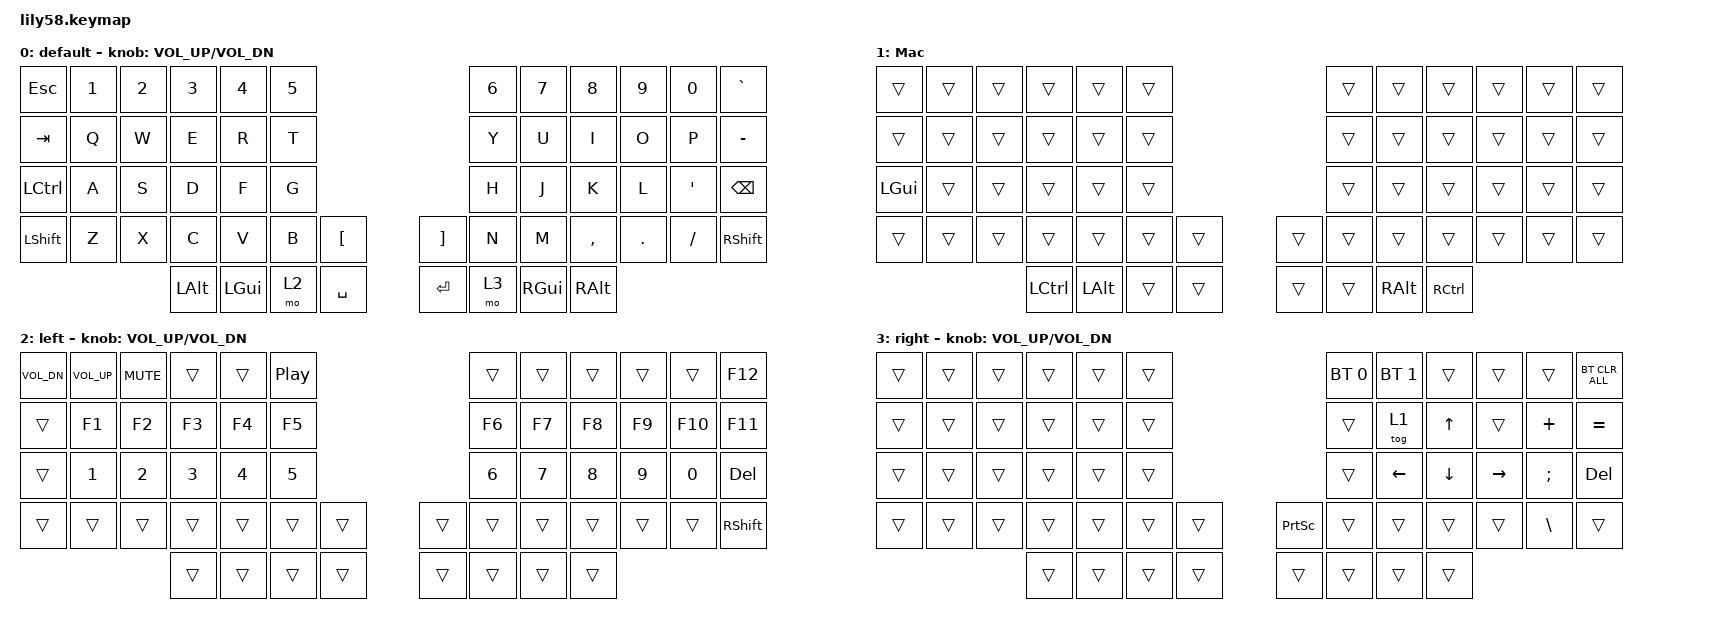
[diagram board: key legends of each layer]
/*
 * Copyright (c) 2020 The ZMK Contributors
 *
 * SPDX-License-Identifier: MIT
 */

#include <behaviors.dtsi>
#include <dt-bindings/zmk/bt.h>
#include <dt-bindings/zmk/keys.h>

/ {
    keymap {
        compatible = "zmk,keymap";

        default {
            // ------------------------------------------------------------------------------------------------------------
            // |  ESC  |  1  |  2  |  3   |  4   |  5   |                   |  6   |  7    |  8    |  9   |   0   |   `   |
            // |  TAB  |  Q  |  W  |  E   |  R   |  T   |                   |  Y   |  U    |  I    |  O   |   P   |   -   |
            // |  CTRL |  A  |  S  |  D   |  F   |  G   |                   |  H   |  J    |  K    |  L   |   ;   |   '   |
            // | SHIFT |  Z  |  X  |  C   |  V   |  B   |   "["  |  |  "]"  |  N   |  M    |  ,    |  .   |   /   | SHIFT |
            //                     | ALT  | GUI  | LOWER|  SPACE |  | ENTER | RAISE| BSPC  | GUI   |

            bindings = <
&kp ESC    &kp N1  &kp N2  &kp N3    &kp N4    &kp N5                                         &kp N6  &kp N7         &kp N8         &kp N9   &kp N0            &kp GRAVE
&kp TAB    &kp Q   &kp W   &kp E     &kp R     &kp T                                          &kp Y   &kp U          &kp I          &kp O    &kp P             &kp MINUS
&kp LCTRL  &kp A   &kp S   &kp D     &kp F     &kp G                                          &kp H   &kp J          &kp K          &kp L    &kp SINGLE_QUOTE  &kp BACKSPACE
&kp LSHFT  &kp Z   &kp X   &kp C     &kp V     &kp B   &kp LEFT_BRACKET    &kp RIGHT_BRACKET  &kp N   &kp M          &kp COMMA      &kp DOT  &kp FSLH          &kp RSHFT
                           &kp LALT  &kp LGUI  &mo 2   &kp SPACE           &kp RET            &mo 3   &kp RIGHT_GUI  &kp RIGHT_ALT
            >;

            sensor-bindings = <&inc_dec_kp C_VOL_UP C_VOL_DN>;
        };

        Mac {
            bindings = <
&trans    &trans  &trans  &trans     &trans    &trans                    &trans  &trans    &trans     &trans  &trans  &trans
&trans    &trans  &trans  &trans     &trans    &trans                    &trans  &trans    &trans     &trans  &trans  &trans
&kp LGUI  &trans  &trans  &trans     &trans    &trans                    &trans  &trans    &trans     &trans  &trans  &trans
&trans    &trans  &trans  &trans     &trans    &trans  &trans    &trans  &trans  &trans    &trans     &trans  &trans  &trans
                          &kp LCTRL  &kp LALT  &trans  &trans    &trans  &trans  &kp RALT  &kp RCTRL
            >;
        };

        left {
            // ------------------------------------------------------------------------------------------------------------
            // |       |     |     |      |      |      |                   |      |       |       |      |       |       |
            // |   `   |  1  |  2  |  3   |  4   |  5   |                   |  6   |   7   |   8   |  9   |   0   |       |
            // |   F1  |  F2 |  F3 |  F4  |  F5  |  F6  |                   |      |   <-  |   v   |  ^   |  ->   |       |
            // |   F7  |  F8 |  F9 |  F10 |  F11 |  F12 |        |  |       |  +   |   -   |   =   |  [   |   ]   |   \   |
            //                     |      |      |      |        |  |       |      |       |       |

            bindings = <
&kp C_VOL_DN  &kp C_VOL_UP  &kp K_MUTE    &trans        &trans        &kp C_PLAY_PAUSE                    &trans        &trans  &trans        &trans        &trans        &kp F12
&trans        &kp F1        &kp F2        &kp F3        &kp F4        &kp F5                              &kp F6        &kp F7  &kp F8        &kp F9        &kp F10       &kp F11
&trans        &kp NUMBER_1  &kp NUMBER_2  &kp NUMBER_3  &kp NUMBER_4  &kp NUMBER_5                        &kp NUMBER_6  &kp N7  &kp NUMBER_8  &kp NUMBER_9  &kp NUMBER_0  &kp DEL
&trans        &trans        &trans        &trans        &trans        &trans            &trans    &trans  &trans        &trans  &trans        &trans        &trans        &kp RIGHT_SHIFT
                                          &trans        &trans        &trans            &trans    &trans  &trans        &trans  &trans
            >;

            sensor-bindings = <&inc_dec_kp C_VOL_UP C_VOL_DN>;
        };

        right {
            // ------------------------------------------------------------------------------------------------------------
            // | BTCLR | BT1 | BT2 |  BT3 |  BT4 |  BT5 |                   |      |       |       |      |       |       |
            // |  F1   |  F2 |  F3 |  F4  |  F5  |  F6  |                   |  F7  |  F8   |  F9   |  F10 |  F11  |  F12  |
            // |   `   |  !  |  @  |  #   |  $   |  %   |                   |  ^   |  &    |  *    |  (   |   )   |   ~   |
            // |       |     |     |      |      |      |        |  |       |      |  _    |  +    |  {   |   }   |  "|"  |
            //                     |      |      |      |        |  |       |      |       |       |

            bindings = <
&trans  &trans  &trans  &trans  &trans  &trans                             &bt BT_SEL 0  &bt BT_SEL 1  &trans        &trans     &trans         &bt BT_CLR_ALL
&trans  &trans  &trans  &trans  &trans  &trans                             &trans        &tog 1        &kp UP_ARROW  &trans     &kp PLUS       &kp EQUAL
&trans  &trans  &trans  &trans  &trans  &trans                             &trans        &kp LEFT      &kp DOWN      &kp RIGHT  &kp SEMI       &kp DELETE
&trans  &trans  &trans  &trans  &trans  &trans  &trans    &kp PRINTSCREEN  &trans        &trans        &trans        &trans     &kp BACKSLASH  &trans
                        &trans  &trans  &trans  &trans    &trans           &trans        &trans        &trans
            >;

            sensor-bindings = <&inc_dec_kp C_VOL_UP C_VOL_DN>;
        };
    };
};
